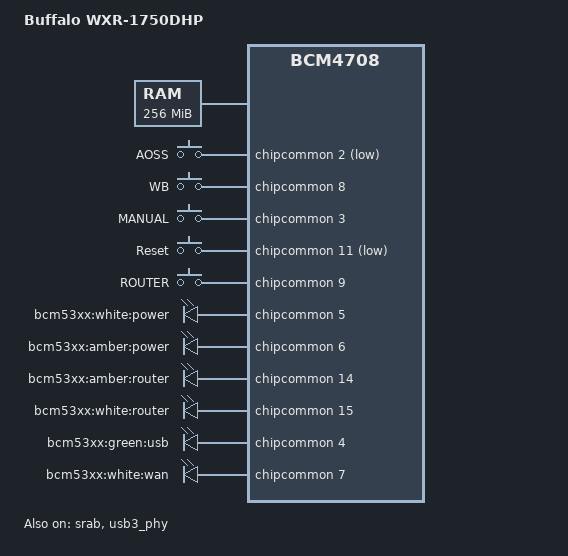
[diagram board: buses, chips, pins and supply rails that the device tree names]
// SPDX-License-Identifier: GPL-2.0-or-later OR MIT
/*
 * Author: Taishi Shimizu <s.taishi14142@gmail.com>
 */

/dts-v1/;

#include "bcm4708.dtsi"
#include "bcm5301x-nand-cs0-bch8.dtsi"

/ {
	compatible = "buffalo,wxr-1750dhp", "brcm,bcm4708";
	model = "Buffalo WXR-1750DHP";

	chosen {
		bootargs = "console=ttyS0,115200";
	};

	memory@0 {
		reg = <0x00000000 0x08000000>,
		      <0x88000000 0x08000000>;
		device_type = "memory";
	};

	gpio-keys {
		compatible = "gpio-keys";

		button-aoss {
			label = "AOSS";
			linux,code = <KEY_WPS_BUTTON>;
			gpios = <&chipcommon 2 GPIO_ACTIVE_LOW>;
		};

		/* GPIO 8 and 9 are a tri-state switch button with
		 * ROUTER / AP / WB.
		 */
		button-bridge {
			label = "WB";
			linux,code = <BTN_2>;
			linux,input-type = <EV_SW>;
			gpios = <&chipcommon 8 GPIO_ACTIVE_HIGH>;
		};

		/* GPIO 3 is a switch button with AUTO / MANUAL. */
		button-manual {
			label = "MANUAL";
			linux,code = <BTN_0>;
			linux,input-type = <EV_SW>;
			gpios = <&chipcommon 3 GPIO_ACTIVE_HIGH>;
		};

		button-restart {
			label = "Reset";
			linux,code = <KEY_RESTART>;
			gpios = <&chipcommon 11 GPIO_ACTIVE_LOW>;
		};

		button-router {
			label = "ROUTER";
			linux,code = <BTN_1>;
			linux,input-type = <EV_SW>;
			gpios = <&chipcommon 9 GPIO_ACTIVE_HIGH>;
		};
	};

	leds {
		compatible = "gpio-leds";

		led-power0 {
			label = "bcm53xx:white:power";
			linux,default-trigger = "default-on";
			gpios = <&chipcommon 5 GPIO_ACTIVE_HIGH>;
		};

		led-power1 {
			label = "bcm53xx:amber:power";
			gpios = <&chipcommon 6 GPIO_ACTIVE_HIGH>;
		};

		led-router0 {
			label = "bcm53xx:amber:router";
			gpios = <&chipcommon 14 GPIO_ACTIVE_HIGH>;
		};

		led-router1 {
			label = "bcm53xx:white:router";
			gpios = <&chipcommon 15 GPIO_ACTIVE_HIGH>;
		};

		led-usb {
			label = "bcm53xx:green:usb";
			gpios = <&chipcommon 4 GPIO_ACTIVE_HIGH>;
		};

		led-wan {
			label = "bcm53xx:white:wan";
			gpios = <&chipcommon 7 GPIO_ACTIVE_HIGH>;
		};
	};
};

&srab {
	status = "okay";

	ports {
		port@0 {
			label = "wan";
		};

		port@1 {
			label = "lan4";
		};

		port@2 {
			label = "lan3";
		};

		port@3 {
			label = "lan2";
		};

		port@4 {
			label = "lan1";
		};
	};
};

&usb3 {
	vcc-gpio = <&chipcommon 10 GPIO_ACTIVE_HIGH>;
};

&usb3_phy {
	status = "okay";
};
